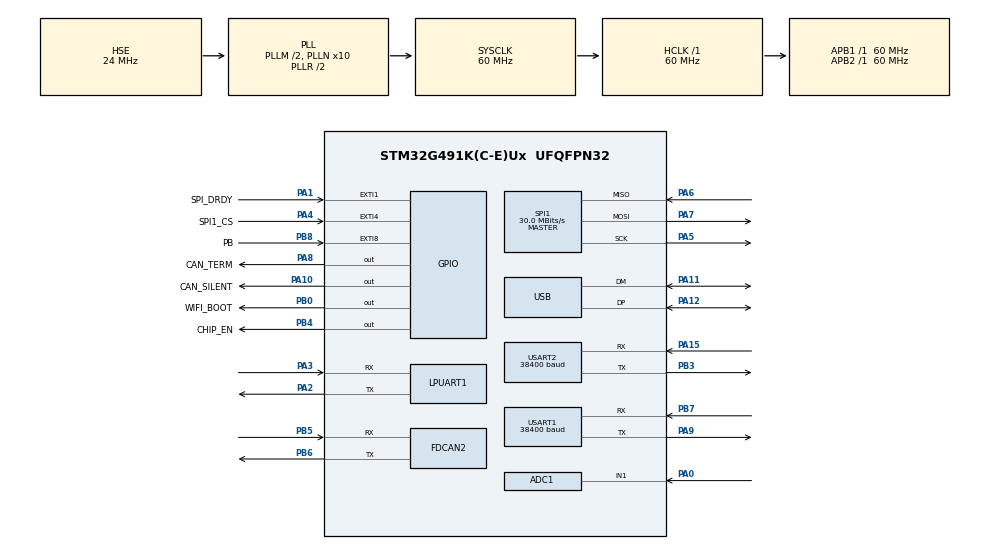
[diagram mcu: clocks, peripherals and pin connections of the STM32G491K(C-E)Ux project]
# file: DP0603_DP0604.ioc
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ADC1.Channel-0\#ChannelRegularConversion=ADC_CHANNEL_TEMPSENSOR_ADC1
ADC1.NbrOfConversionFlag=1
ADC1.OffsetNumber-0\#ChannelRegularConversion=ADC_OFFSET_NONE
ADC1.Rank-0\#ChannelRegularConversion=1
ADC1.SamplingTime-0\#ChannelRegularConversion=ADC_SAMPLETIME_2CYCLES_5
ADC1.master=1
FDCAN2.CalculateBaudRateNominal=1250000
FDCAN2.CalculateTimeBitNominal=800
FDCAN2.CalculateTimeQuantumNominal=266.6666666666667
Mcu.Family=STM32G4
Mcu.Name=STM32G491K(C-E)Ux
Mcu.Package=UFQFPN32
NVIC.EXTI1_IRQn=true\:0\:0\:false\:false\:true\:true\:true\:true
NVIC.EXTI4_IRQn=true\:0\:0\:false\:false\:true\:true\:true\:true
NVIC.EXTI9_5_IRQn=true\:0\:0\:false\:false\:true\:true\:true\:true
NVIC.LPUART1_IRQn=true\:0\:0\:false\:false\:true\:true\:true\:true
NVIC.PriorityGroup=NVIC_PRIORITYGROUP_4
NVIC.RTC_WKUP_IRQn=true\:0\:0\:false\:false\:true\:true\:true\:true
NVIC.SPI1_IRQn=true\:0\:0\:false\:false\:true\:true\:true\:true
NVIC.USART1_IRQn=true\:0\:0\:false\:false\:true\:true\:true\:true
NVIC.USART2_IRQn=true\:0\:0\:false\:false\:true\:true\:true\:true
NVIC.USB_LP_IRQn=true\:0\:0\:false\:false\:true\:false\:true\:true
PA0.Mode=IN1-Single-Ended
PA0.Signal=ADC1_IN1
PA1.GPIO_Label=SPI_DRDY
PA1.Signal=GPXTI1
PA10.GPIO_Label=CAN_SILENT
PA10.Signal=GPIO_Output
PA11.Mode=Device
PA11.Signal=USB_DM
PA12.Mode=Device
PA12.Signal=USB_DP
PA13.Mode=Serial_Wire
PA13.Signal=SYS_JTMS-SWDIO
PA14.Mode=Serial_Wire
PA14.Signal=SYS_JTCK-SWCLK
PA15.Mode=Asynchronous
PA15.Signal=USART2_RX
PA2.Mode=Asynchronous
PA2.Signal=LPUART1_TX
PA3.Mode=Asynchronous
PA3.Signal=LPUART1_RX
PA4.GPIO_Label=SPI1_CS
PA4.Signal=GPXTI4
PA5.Mode=Full_Duplex_Master
PA5.Signal=SPI1_SCK
PA6.Mode=Full_Duplex_Master
PA6.Signal=SPI1_MISO
PA7.Mode=Full_Duplex_Master
PA7.Signal=SPI1_MOSI
PA8.GPIO_Label=CAN_TERM
PA8.Signal=GPIO_Output
PA9.Mode=Asynchronous
PA9.Signal=USART1_TX
PB0.GPIO_Label=WIFI_BOOT
PB0.Signal=GPIO_Output
PB3.Mode=Asynchronous
PB3.Signal=USART2_TX
PB4.GPIO_Label=CHIP_EN
PB4.PinState=GPIO_PIN_RESET
PB4.Signal=GPIO_Output
PB5.Mode=FDCAN_Activate
PB5.Signal=FDCAN2_RX
PB6.Mode=FDCAN_Activate
PB6.Signal=FDCAN2_TX
PB7.Mode=Asynchronous
PB7.Signal=USART1_RX
PB8-BOOT0.GPIO_Label=PB
PB8-BOOT0.Signal=GPXTI8
PF0-OSC_IN.Mode=HSE-External-Oscillator
PF0-OSC_IN.Signal=RCC_OSC_IN
PF1-OSC_OUT.Mode=HSE-External-Oscillator
PF1-OSC_OUT.Signal=RCC_OSC_OUT
ProjectManager.HeapSize=0x200
ProjectManager.StackSize=0x400
ProjectManager.TargetToolchain=CMake
RCC.ADC12Freq_Value=60000000
RCC.ADC345Freq_Value=60000000
RCC.AHBFreq_Value=60000000
RCC.APB1Freq_Value=60000000
RCC.APB1TimFreq_Value=60000000
RCC.APB2Freq_Value=60000000
RCC.APB2TimFreq_Value=60000000
RCC.CortexFreq_Value=60000000
RCC.EXTERNAL_CLOCK_VALUE=12288000
RCC.HCLKFreq_Value=60000000
RCC.HSE_VALUE=24000000
RCC.HSI48_VALUE=48000000
RCC.HSI_VALUE=16000000
RCC.LSE_VALUE=32768
RCC.PLLM=RCC_PLLM_DIV2
RCC.PLLN=10
RCC.PLLSourceVirtual=RCC_PLLSOURCE_HSE
RCC.SYSCLKFreq_VALUE=60000000
RCC.SYSCLKSource=RCC_SYSCLKSOURCE_PLLCLK
RCC.VCOOutputFreq_Value=120000000
RTC.WakeUpClock=RTC_WAKEUPCLOCK_CK_SPRE_16BITS
SPI1.BaudRatePrescaler=SPI_BAUDRATEPRESCALER_2
SPI1.CalculateBaudRate=30.0 MBits/s
SPI1.DataSize=SPI_DATASIZE_8BIT
SPI1.Direction=SPI_DIRECTION_2LINES
SPI1.Mode=SPI_MODE_MASTER
SPI1.VirtualType=VM_MASTER
USART1.BaudRate=38400
USART1.VirtualMode-Asynchronous=VM_ASYNC
USART2.BaudRate=38400
USART2.VirtualMode-Asynchronous=VM_ASYNC
USB_DEVICE.CLASS_NAME_FS=CDC
USB_DEVICE.VirtualMode=Cdc
USB_DEVICE.VirtualModeFS=Cdc_FS
VP_ADC1_TempSens_Input.Mode=IN-TempSens
VP_ADC1_Vref_Input.Mode=IN-Vrefint
VP_RTC_VS_RTC_Activate.Mode=RTC_Enabled
VP_RTC_VS_RTC_WakeUp_intern.Mode=WakeUp
VP_SYS_VS_DBSignals.Mode=DisableDeadBatterySignals
VP_USB_DEVICE_VS_USB_DEVICE_CDC_FS.Mode=CDC_FS
board=custom

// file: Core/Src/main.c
/* USER CODE BEGIN Header */
/**
  ******************************************************************************
  * @file           : main.c
  * @brief          : Main program body
  ******************************************************************************
  * @attention
  *
  * Copyright (c) 2025 STMicroelectronics.
  * All rights reserved.
  *
  * This software is licensed under terms that can be found in the LICENSE file
  * in the root directory of this software component.
  * If no LICENSE file comes with this software, it is provided AS-IS.
  *
  ******************************************************************************
  */
/* USER CODE END Header */
#include "main.h"
#include "adc.h"
#include "fdcan.h"
#include "stm32g4xx_hal_gpio.h"
#include "usart.h"
#include "rtc.h"
#include "spi.h"
#include "usb_device.h"
#include "gpio.h"

/* USER CODE BEGIN Includes */
#include "usbd_cdc_if.h"
/* USER CODE END Includes */

/* USER CODE BEGIN PV */
uint8_t usbRxBuffer[64];
uint8_t uartRxBuffer[1];
/* USER CODE END PV */

void SystemClock_Config(void);
/* USER CODE BEGIN PFP */
void JumpToBootloader(void);

/* USER CODE END PFP */

/* USER CODE BEGIN 0 */
/*void HAL_UART_RxCpltCallback(UART_HandleTypeDef *huart)
{
  // Handle UART to USB CDC
  CDC_Transmit_FS(uartRxBuffer, sizeof(uartRxBuffer));
  HAL_UART_Receive_IT(huart, uartRxBuffer, 5);
}*/
/**
  * @brief  GPIO External Interrupt Callback.
  * @param  GPIO_Pin: GPIO from which interrupt is triggered
  * @retval None
  */
void HAL_GPIO_EXTI_Callback(uint16_t GPIO_Pin)
{
	if (GPIO_Pin == PB_Pin) {
    JumpToBootloader();
	}
}
/* USER CODE END 0 */

int main(void)
{

  /* MCU Configuration--------------------------------------------------------*/

  /* Reset of all peripherals, Initializes the Flash interface and the Systick. */
  HAL_Init();

  /* Configure the system clock */
  SystemClock_Config();

  /* Initialize all configured peripherals */
  MX_GPIO_Init();
  MX_SPI1_Init();
  MX_USART1_UART_Init();
  MX_USART2_UART_Init();
  MX_USB_Device_Init();
  MX_ADC1_Init();
  MX_FDCAN2_Init();
  MX_LPUART1_UART_Init();
  MX_RTC_Init();

  /* Infinite loop */
  while (1)
  {

    /* USER CODE BEGIN 3 */
    // Handle UART to USB CDC
    if (HAL_UART_Receive(&huart1, uartRxBuffer, sizeof(uartRxBuffer), HAL_MAX_DELAY) == HAL_OK)
    {
        CDC_Transmit_FS(uartRxBuffer, 1);
    }
  }
  /* USER CODE END 3 */
}

void SystemClock_Config(void)
{
  RCC_OscInitTypeDef RCC_OscInitStruct = {0};
  RCC_ClkInitTypeDef RCC_ClkInitStruct = {0};

  /** Configure the main internal regulator output voltage
  */
  HAL_PWREx_ControlVoltageScaling(PWR_REGULATOR_VOLTAGE_SCALE1);

  /** Initializes the RCC Oscillators according to the specified parameters
  * in the RCC_OscInitTypeDef structure.
  */
  RCC_OscInitStruct.OscillatorType = RCC_OSCILLATORTYPE_HSI48|RCC_OSCILLATORTYPE_LSI
                              |RCC_OSCILLATORTYPE_HSE;
  RCC_OscInitStruct.HSEState = RCC_HSE_ON;
  RCC_OscInitStruct.LSIState = RCC_LSI_ON;
  RCC_OscInitStruct.HSI48State = RCC_HSI48_ON;
  RCC_OscInitStruct.PLL.PLLState = RCC_PLL_ON;
  RCC_OscInitStruct.PLL.PLLSource = RCC_PLLSOURCE_HSE;
  RCC_OscInitStruct.PLL.PLLM = RCC_PLLM_DIV2;
  RCC_OscInitStruct.PLL.PLLN = 10;
  RCC_OscInitStruct.PLL.PLLP = RCC_PLLP_DIV2;
  RCC_OscInitStruct.PLL.PLLQ = RCC_PLLQ_DIV2;
  RCC_OscInitStruct.PLL.PLLR = RCC_PLLR_DIV2;
  if (HAL_RCC_OscConfig(&RCC_OscInitStruct) != HAL_OK)
  {
    Error_Handler();
  }

  /** Initializes the CPU, AHB and APB buses clocks
  */
  RCC_ClkInitStruct.ClockType = RCC_CLOCKTYPE_HCLK|RCC_CLOCKTYPE_SYSCLK
                              |RCC_CLOCKTYPE_PCLK1|RCC_CLOCKTYPE_PCLK2;
  RCC_ClkInitStruct.SYSCLKSource = RCC_SYSCLKSOURCE_PLLCLK;
  RCC_ClkInitStruct.AHBCLKDivider = RCC_SYSCLK_DIV1;
  RCC_ClkInitStruct.APB1CLKDivider = RCC_HCLK_DIV1;
  RCC_ClkInitStruct.APB2CLKDivider = RCC_HCLK_DIV1;

  if (HAL_RCC_ClockConfig(&RCC_ClkInitStruct, FLASH_LATENCY_1) != HAL_OK)
  {
    Error_Handler();
  }
}

/* USER CODE BEGIN 4 */
/**
  * @brief  Jump to bootloader routine while in RUN mode
  * @param  none
  * @retval none
  */
void JumpToBootloader(void)
{
	void (*SysMemBootJump)(void);
	volatile uint32_t BootAddr;

	HAL_Delay(100);				// Then wait some delay

	BootAddr = 0x1FFF0000;			// bootloader STM32F401C address
	__disable_irq();				// Disable all interrupts
	SysTick->CTRL = 0;				// Disable Systick timer
	HAL_RCC_DeInit();				// Set the clock to the default state

	// Clear Interrupt Enable Register & Interrupt Pending Register
	for (uint8_t i=0 ; i < sizeof(NVIC->ICER) / sizeof(NVIC->ICER[0]); i++) {
		NVIC->ICER[i]=0xFFFFFFFF;
		NVIC->ICPR[i]=0xFFFFFFFF;
	}
	__enable_irq();					// Re-enable all interrupts
	// Set up the jump to boot loader address + 4
	SysMemBootJump = (void (*)(void)) (*((uint32_t *) ((BootAddr + 4))));
	// Set the main stack pointer to the boot loader stack
	__set_MSP(*(uint32_t *)BootAddr);
	// Call the function to jump to boot loader location
	SysMemBootJump();
	// Jump is done successfully
	while (1);
}
/* USER CODE END 4 */

void Error_Handler(void)
{
  __disable_irq();
  while (1)
  {
  }
}
